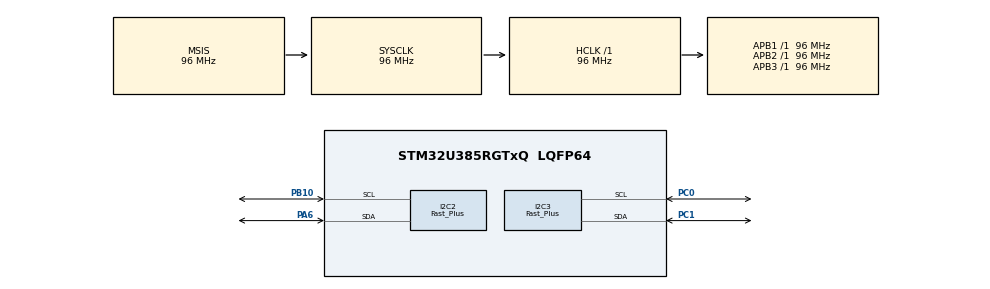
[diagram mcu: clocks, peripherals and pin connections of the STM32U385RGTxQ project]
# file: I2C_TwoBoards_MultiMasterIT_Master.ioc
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CORTEX_M33_NS.userName=CORTEX_M33
I2C2.I2C_Fall_Time=2
I2C2.I2C_Rise_Time=26
I2C2.I2C_Speed_Mode=I2C_Fast_Plus
I2C2.OwnAddress=I2C_MASTER1_ADDRESS
I2C2.Timing=0x0070123C
I2C3.I2C_Fall_Time=2
I2C3.I2C_Rise_Time=26
I2C3.I2C_Speed_Mode=I2C_Fast_Plus
I2C3.OwnAddress=I2C_MASTER2_ADDRESS
I2C3.Timing=0x0070123C
Mcu.Family=STM32U3
Mcu.Name=STM32U385RGTxQ
Mcu.Package=LQFP64
Mcu.UserConstants=I2C_MASTER1_ADDRESS,0x40;I2C_MASTER2_ADDRESS,0x20
NVIC.I2C2_ER_IRQn=true\:0\:0\:false\:false\:true\:true\:true\:true
NVIC.I2C2_EV_IRQn=true\:0\:0\:false\:false\:true\:true\:true\:true
NVIC.I2C3_ER_IRQn=true\:0\:0\:false\:false\:true\:true\:true\:true
NVIC.I2C3_EV_IRQn=true\:0\:0\:false\:false\:true\:true\:true\:true
NVIC.PriorityGroup=NVIC_PRIORITYGROUP_4
NVIC.TIM3_IRQn=true\:0\:0\:false\:false\:true\:true\:true\:true
PA6.GPIO_Pu=GPIO_PULLUP
PA6.Mode=I2C
PA6.Signal=I2C2_SDA
PB10.GPIO_Pu=GPIO_PULLUP
PB10.Mode=I2C
PB10.Signal=I2C2_SCL
PC0.GPIO_Pu=GPIO_PULLUP
PC0.Mode=I2C
PC0.Signal=I2C3_SCL
PC1.GPIO_Pu=GPIO_PULLUP
PC1.Mode=I2C
PC1.Signal=I2C3_SDA
ProjectManager.HeapSize=0x200
ProjectManager.StackSize=0x400
ProjectManager.TargetToolchain=EWARM V9.20
RCC.ADCFreq_Value=96000000
RCC.AHBFreq_Value=96000000
RCC.APB1Freq_Value=96000000
RCC.APB1TimFreq_Value=96000000
RCC.APB2Freq_Value=96000000
RCC.APB2TimFreq_Value=96000000
RCC.APB3Freq_Value=96000000
RCC.CortexFreq_Value=12000000
RCC.HCLKFreq_Value=96000000
RCC.HSE_VALUE=16000000
RCC.HSI48_VALUE=48000000
RCC.HSI_VALUE=16000000
RCC.LSE_VALUE=32768
RCC.LSIDIV_VALUE=32000
RCC.MSISDIV=RCC_MSI_DIV1
RCC.SYSCLKFreq_VALUE=96000000
RCC.USBFreq_Value=96000000
TIM3.Channel-Input_Capture1_from_TRC=TIM_CHANNEL_1
TIM3.PeriodNoDither=10-1
TIM3.Prescaler=PRESCALER_VALUE
VP_ICACHE_VS_ICACHE.Mode=DirectMappedCache
VP_MEMORYMAP_VS_MEMORYMAP.Mode=CurAppReg
VP_PWR_VS_DBSignals.Mode=DisableDeadBatterySignals
VP_PWR_VS_LPOM.Mode=PowerOptimisation
VP_PWR_VS_SECSignals.Mode=Security/Privilege
VP_TIM3_VS_CH1.Mode=Input_Capture1_from_TRC
VP_TIM3_VS_ClockSourceITR.Mode=TriggerSource_ITR0
board=custom

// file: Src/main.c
/* USER CODE BEGIN Header */
/**
  ******************************************************************************
  * @file    I2C/I2C_TwoBoards_MultiMasterIT_Master/Src/main.c
  * @author  MCD Application Team
  * @brief   This sample code shows how to use STM32U3xx I2C HAL API to
  *          manage a Communication between two Masters and one Slave
  *          based on Interrupt procedure.
  ******************************************************************************
  * @attention
  *
  * Copyright (c) 2024 STMicroelectronics.
  * All rights reserved.
  *
  * This software is licensed under terms that can be found in the LICENSE file
  * in the root directory of this software component.
  * If no LICENSE file comes with this software, it is provided AS-IS.
  *
  ******************************************************************************
  */
/* USER CODE END Header */
#include "main.h"

/* USER CODE BEGIN PD */
#define PRESCALER_VALUE  (uint32_t)(SystemCoreClock / 10000) - 1

#define I2C_ADDRESS        0x30
/* USER CODE END PD */

I2C_HandleTypeDef hi2c2;
I2C_HandleTypeDef hi2c3;

TIM_HandleTypeDef htim3;

/* USER CODE BEGIN PV */
/* Buffer used for transmission */
uint8_t aTxBufferMaster1[] = " Master1 **";
uint8_t aTxBufferMaster2[] = "** Master2 ";

/* Buffer used for reception */
uint8_t aRxBuffer[RXBUFFERSIZE];

/* Multimaster variable */
uint32_t MasterStatus1 = 0;
uint32_t MasterStatus2 = 0;
uint32_t Master1BusBusyCpt = 0;
uint32_t Master2BusBusyCpt = 0;
/* USER CODE END PV */

void SystemClock_Config(void);
static void MX_GPIO_Init(void);
static void MX_I2C3_Init(void);
static void MX_ICACHE_Init(void);
static void MX_TIM3_Init(void);
static void MX_I2C2_Init(void);

int main(void)
{

  /* MCU Configuration--------------------------------------------------------*/

  /* Reset of all peripherals, Initializes the Flash interface and the Systick. */
  HAL_Init();

  /* Configure the system clock */
  SystemClock_Config();

  /* Initialize all configured peripherals */
  MX_GPIO_Init();
  MX_I2C3_Init();
  MX_ICACHE_Init();
  MX_TIM3_Init();
  MX_I2C2_Init();
  /* USER CODE BEGIN 2 */
  /* Configure LD2 */
  BSP_LED_Init(LD2);

  /* Configure User push-button */
  BSP_PB_Init(BUTTON_USER, BUTTON_MODE_GPIO);

  /* Wait for User push-button press before starting the Communication */
  while (BSP_PB_GetState(BUTTON_USER) != GPIO_PIN_RESET)
  {
  }

  /* Wait for User push-button release before starting the Communication */
  while (BSP_PB_GetState(BUTTON_USER) != GPIO_PIN_SET)
  {
  }
  /* USER CODE END 2 */

  /* Infinite loop */
  /* USER CODE BEGIN WHILE */
  while (1)
  {
    /* The board sends the message and expects to receive it back */

    /*##-2- Start the transmission process #####################################*/
    /* While the I2C in reception process, user can transmit data through
    "aTxBufferMaster1" buffer */
    do
    {
      MasterStatus1 = HAL_I2C_Master_Transmit_IT(&hi2c2, (uint16_t)I2C_ADDRESS, (uint8_t*)aTxBufferMaster1, TXBUFFERSIZE);
      if (MasterStatus1 != HAL_OK)
      {
        if ((hi2c2.State == HAL_I2C_STATE_READY) && (MasterStatus1 == HAL_BUSY))
        {
          /* Increment Multimaster Busy bus detection */
          Master1BusBusyCpt++;
        }
        else
        {
          /* Error_Handler() function is called when error occurs. */
          Error_Handler();
        }
      }

      /*##-3- Wait for the end of the transfer #################################*/
      /*  Before starting a new communication transfer, you need to check the current
      state of the peripheral; if it's busy you need to wait for the end of current
      transfer before starting a new one.
      For simplicity reasons, this example is just waiting till the end of the
      transfer, but application may perform other tasks while transfer operation
      is ongoing. */
      while (HAL_I2C_GetState(&hi2c2) != HAL_I2C_STATE_READY)
      {
      }

      /* When Acknowledge failure occurs (Slave don't acknowledge it's address)
      Master restarts communication */
    }
    while(HAL_I2C_GetError(&hi2c2) == HAL_I2C_ERROR_AF);

    /* USER CODE END WHILE */

  }
}

void SystemClock_Config(void)
{
  RCC_OscInitTypeDef RCC_OscInitStruct = {0};
  RCC_ClkInitTypeDef RCC_ClkInitStruct = {0};

  /** Configure the System Power Supply
  */
  if (HAL_PWREx_ConfigSupply(PWR_SMPS_SUPPLY) != HAL_OK)
  {
    Error_Handler();
  }

  /** Enable Epod Booster
  */
  if (HAL_RCCEx_EpodBoosterClkConfig(RCC_EPODBOOSTER_SOURCE_MSIS, RCC_EPODBOOSTER_DIV1) != HAL_OK)
  {
    Error_Handler();
  }
  if (HAL_PWREx_EnableEpodBooster() != HAL_OK)
  {
    Error_Handler();
  }

  /** Configure the main internal regulator output voltage
  */
  if (HAL_PWREx_ControlVoltageScaling(PWR_REGULATOR_VOLTAGE_SCALE1) != HAL_OK)
  {
    Error_Handler();
  }

  /** Set Flash latency before increasing MSIS
  */
  __HAL_FLASH_SET_LATENCY(FLASH_LATENCY_2);

  /** Initializes the CPU, AHB and APB buses clocks
  */
  RCC_OscInitStruct.OscillatorType = RCC_OSCILLATORTYPE_MSIS;
  RCC_OscInitStruct.MSISState = RCC_MSI_ON;
  RCC_OscInitStruct.MSISSource = RCC_MSI_RC0;
  RCC_OscInitStruct.MSISDiv = RCC_MSI_DIV1;
  if (HAL_RCC_OscConfig(&RCC_OscInitStruct) != HAL_OK)
  {
    Error_Handler();
  }

  /** Initializes the CPU, AHB and APB buses clocks
  */
  RCC_ClkInitStruct.ClockType = RCC_CLOCKTYPE_HCLK|RCC_CLOCKTYPE_SYSCLK
                              |RCC_CLOCKTYPE_PCLK1|RCC_CLOCKTYPE_PCLK2
                              |RCC_CLOCKTYPE_PCLK3;
  RCC_ClkInitStruct.SYSCLKSource = RCC_SYSCLKSOURCE_MSIS;
  RCC_ClkInitStruct.AHBCLKDivider = RCC_SYSCLK_DIV1;
  RCC_ClkInitStruct.APB1CLKDivider = RCC_HCLK_DIV1;
  RCC_ClkInitStruct.APB2CLKDivider = RCC_HCLK_DIV1;
  RCC_ClkInitStruct.APB3CLKDivider = RCC_HCLK_DIV1;

  if (HAL_RCC_ClockConfig(&RCC_ClkInitStruct, FLASH_LATENCY_2) != HAL_OK)
  {
    Error_Handler();
  }
}

static void MX_I2C2_Init(void)
{

  hi2c2.Instance = I2C2;
  hi2c2.Init.Timing = 0x0070123C;
  hi2c2.Init.OwnAddress1 = I2C_MASTER1_ADDRESS;
  hi2c2.Init.AddressingMode = I2C_ADDRESSINGMODE_7BIT;
  hi2c2.Init.DualAddressMode = I2C_DUALADDRESS_DISABLE;
  hi2c2.Init.OwnAddress2 = 0;
  hi2c2.Init.OwnAddress2Masks = I2C_OA2_NOMASK;
  hi2c2.Init.GeneralCallMode = I2C_GENERALCALL_DISABLE;
  hi2c2.Init.NoStretchMode = I2C_NOSTRETCH_DISABLE;
  if (HAL_I2C_Init(&hi2c2) != HAL_OK)
  {
    Error_Handler();
  }

  /** Configure Analogue filter
  */
  if (HAL_I2CEx_ConfigAnalogFilter(&hi2c2, I2C_ANALOGFILTER_ENABLE) != HAL_OK)
  {
    Error_Handler();
  }

  /** Configure Digital filter
  */
  if (HAL_I2CEx_ConfigDigitalFilter(&hi2c2, 0) != HAL_OK)
  {
    Error_Handler();
  }

  /** I2C Fast mode Plus enable
  */
  if (HAL_I2CEx_ConfigFastModePlus(&hi2c2, I2C_FASTMODEPLUS_ENABLE) != HAL_OK)
  {
    Error_Handler();
  }

}

static void MX_I2C3_Init(void)
{

  hi2c3.Instance = I2C3;
  hi2c3.Init.Timing = 0x0070123C;
  hi2c3.Init.OwnAddress1 = 64;
  hi2c3.Init.AddressingMode = I2C_ADDRESSINGMODE_7BIT;
  hi2c3.Init.DualAddressMode = I2C_DUALADDRESS_DISABLE;
  hi2c3.Init.OwnAddress2 = 0;
  hi2c3.Init.OwnAddress2Masks = I2C_OA2_NOMASK;
  hi2c3.Init.GeneralCallMode = I2C_GENERALCALL_DISABLE;
  hi2c3.Init.NoStretchMode = I2C_NOSTRETCH_DISABLE;
  if (HAL_I2C_Init(&hi2c3) != HAL_OK)
  {
    Error_Handler();
  }

  /** Configure Analogue filter
  */
  if (HAL_I2CEx_ConfigAnalogFilter(&hi2c3, I2C_ANALOGFILTER_ENABLE) != HAL_OK)
  {
    Error_Handler();
  }

  /** Configure Digital filter
  */
  if (HAL_I2CEx_ConfigDigitalFilter(&hi2c3, 0) != HAL_OK)
  {
    Error_Handler();
  }

  /** I2C Fast mode Plus enable
  */
  if (HAL_I2CEx_ConfigFastModePlus(&hi2c3, I2C_FASTMODEPLUS_ENABLE) != HAL_OK)
  {
    Error_Handler();
  }

}

static void MX_ICACHE_Init(void)
{

  /** Enable instruction cache in 1-way (direct mapped cache)
  */
  if (HAL_ICACHE_ConfigAssociativityMode(ICACHE_1WAY) != HAL_OK)
  {
    Error_Handler();
  }
  if (HAL_ICACHE_Enable() != HAL_OK)
  {
    Error_Handler();
  }

}

static void MX_TIM3_Init(void)
{

  TIM_SlaveConfigTypeDef sSlaveConfig = {0};
  TIM_MasterConfigTypeDef sMasterConfig = {0};
  TIM_IC_InitTypeDef sConfigIC = {0};

  htim3.Instance = TIM3;
  htim3.Init.Prescaler = PRESCALER_VALUE;
  htim3.Init.CounterMode = TIM_COUNTERMODE_UP;
  htim3.Init.Period = 9;
  htim3.Init.ClockDivision = TIM_CLOCKDIVISION_DIV1;
  htim3.Init.AutoReloadPreload = TIM_AUTORELOAD_PRELOAD_DISABLE;
  if (HAL_TIM_Base_Init(&htim3) != HAL_OK)
  {
    Error_Handler();
  }
  if (HAL_TIM_IC_Init(&htim3) != HAL_OK)
  {
    Error_Handler();
  }
  sSlaveConfig.SlaveMode = TIM_SLAVEMODE_DISABLE;
  sSlaveConfig.InputTrigger = TIM_TS_ITR0;
  if (HAL_TIM_SlaveConfigSynchro(&htim3, &sSlaveConfig) != HAL_OK)
  {
    Error_Handler();
  }
  sMasterConfig.MasterOutputTrigger = TIM_TRGO_RESET;
  sMasterConfig.MasterSlaveMode = TIM_MASTERSLAVEMODE_DISABLE;
  if (HAL_TIMEx_MasterConfigSynchronization(&htim3, &sMasterConfig) != HAL_OK)
  {
    Error_Handler();
  }
  sConfigIC.ICPolarity = TIM_INPUTCHANNELPOLARITY_RISING;
  sConfigIC.ICSelection = TIM_ICSELECTION_TRC;
  sConfigIC.ICPrescaler = TIM_ICPSC_DIV1;
  sConfigIC.ICFilter = 0;
  if (HAL_TIM_IC_ConfigChannel(&htim3, &sConfigIC, TIM_CHANNEL_1) != HAL_OK)
  {
    Error_Handler();
  }
  /* USER CODE BEGIN TIM3_Init 2 */

  if(HAL_TIM_Base_Start_IT(&htim3) != HAL_OK)
  {
    Error_Handler();
  }
  /* USER CODE END TIM3_Init 2 */

}

static void MX_GPIO_Init(void)
{

  /* GPIO Ports Clock Enable */
  __HAL_RCC_GPIOC_CLK_ENABLE();
  __HAL_RCC_GPIOA_CLK_ENABLE();
  __HAL_RCC_GPIOB_CLK_ENABLE();

}

/* USER CODE BEGIN 4 */
/**
  * @brief  Tx Transfer completed callback.
  * @param  hi2c: I2C handle.
  * @note   This example shows a simple way to report end of IT Tx transfer, and
  *         you can add your own implementation.
  * @retval None
  */
void HAL_I2C_MasterTxCpltCallback(I2C_HandleTypeDef *hi2c)
{
}

/**
  * @brief  I2C error callbacks.
  * @param  hi2c: I2C handle
  * @note   This example shows a simple way to report transfer error, and you can
  *         add your own implementation.
  * @retval None
  */
void HAL_I2C_ErrorCallback(I2C_HandleTypeDef *hi2c)
{
  /** Error_Handler() function is called when error occurs.
    * 1- When Slave don't acknowledge it's address, Master restarts communication.
    * 2- When Master don't acknowledge the last data transferred, Slave don't care in this example.
    */
  if (HAL_I2C_GetError(hi2c) != HAL_I2C_ERROR_AF)
  {
    /* Workaround deadlock appear due to BUS error detection Errata 64209: START badly generated after misplaced STOP */
    /* Workaround deadlock appear due to BUS error detection Errata I2C-090401 : Robustness issue when receiving an
       illegal void message (no SCL edges between a START and a STOP condition) */
    HAL_I2C_DeInit(hi2c);
    HAL_I2C_Init(hi2c);
  }
}

/**
  * @brief  Period elapsed callback in non blocking mode
  * @param  htim : TIM handle
  * @retval None
  */
void HAL_TIM_PeriodElapsedCallback(TIM_HandleTypeDef *htim)
{
  /* Master2 Tx */
  MasterStatus2 = HAL_I2C_Master_Transmit_IT(&hi2c3, (uint16_t)I2C_ADDRESS, (uint8_t*)aTxBufferMaster2, TXBUFFERSIZE);
  if (MasterStatus2 != HAL_OK)
  {
    if ((hi2c3.State == HAL_I2C_STATE_READY) && (MasterStatus2 == HAL_BUSY))
    {
      /* Increment Multimaster Busy bus detection */
      Master2BusBusyCpt++;
    }
  }

  BSP_LED_Toggle(LD2);
}

/* USER CODE END 4 */

void Error_Handler(void)
{
  /* USER CODE BEGIN Error_Handler_Debug */
  /* User can add his own implementation to report the HAL error return state */
  __disable_irq();
  while (1)
  {
    HAL_Delay(1000);
    BSP_LED_Toggle(LD2);
  }
  /* USER CODE END Error_Handler_Debug */
}
#ifdef USE_FULL_ASSERT
/**
  * @brief  Reports the name of the source file and the source line number
  *         where the assert_param error has occurred.
  * @param  file: pointer to the source file name
  * @param  line: assert_param error line source number
  * @retval None
  */
void assert_failed(uint8_t *file, uint32_t line)
{
  /* USER CODE BEGIN 6 */
  /* User can add his own implementation to report the file name and line number,
     ex: printf("Wrong parameters value: file %s on line %d\r\n", file, line) */
  Error_Handler();
  /* USER CODE END 6 */
}
#endif /* USE_FULL_ASSERT */
